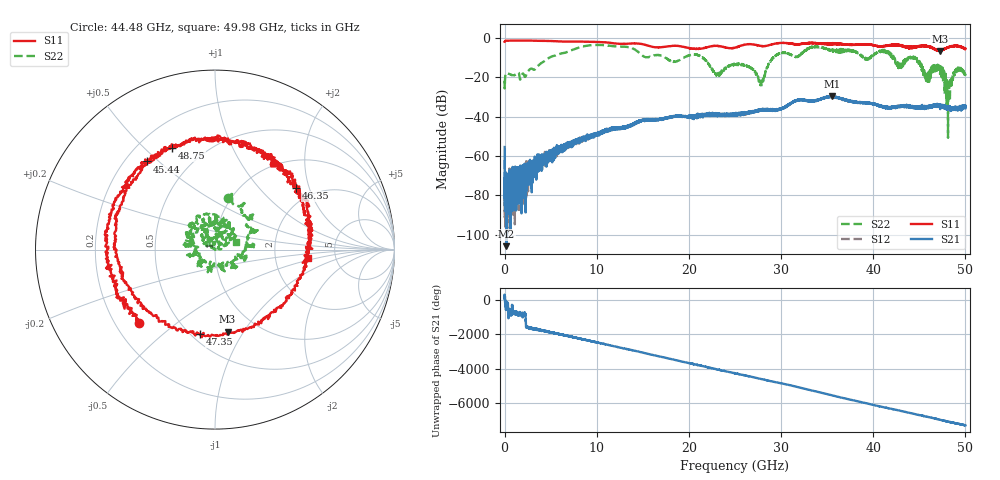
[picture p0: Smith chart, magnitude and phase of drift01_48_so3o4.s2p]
!Created with skrf (http://scikit-rf.org).
# Hz S RI R 50.0
!freq ReS11 ImS11 ReS21 ImS21 ReS12 ImS12 ReS22 ImS22
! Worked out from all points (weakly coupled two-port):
!   10001 points, 300 kHz to 50 GHz, reference 50 ohm
!   highest |S21| = -29.60 dB at 35.55 GHz (marker M1); lowest = -105.7 dB at 200.3 MHz (marker M2)
!   lowest |S11| = -6.7 dB at 47.21 GHz (marker M3), VSWR 2.72, Z = 36.6 - j42.5 ohm
!   |S11| at or under -10 dB: nowhere
!   |S22| runs from -50.8 to -3.6 dB; largest |S21 - S12| = 0.0036
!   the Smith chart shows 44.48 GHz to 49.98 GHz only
!   S11 on the Smith chart (normalised r, x): 44.48 GHz: 0.30, -0.37; 45.44 GHz: 0.29, +0.46; 46.35 GHz: 1.61, +1.63; 47.35 GHz: 0.55, -0.67; 48.75 GHz: 0.33, +0.61; 49.98 GHz: 3.11, -0.39
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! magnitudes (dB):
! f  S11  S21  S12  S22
! 300 kHz  -2.1  -55.4  -62.0  -21.8
! 200.3 MHz  -1.4  -105.7  -72.9  -18.0
! 8.335 GHz  -1.9  -51.8  -51.8  -4.6
! 16.67 GHz  -4.9  -41.6  -41.5  -8.7
! 20.96 GHz  -5.6  -39.7  -39.2  -8.7
! 23.07 GHz  -4.1  -39.5  -38.8  -18.3
! 25 GHz  -5.0  -38.7  -38.9  -13.8
! 27.83 GHz  -4.2  -36.5  -36.6  -22.3
! 29.47 GHz  -2.9  -36.7  -36.7  -8.8
! 33.34 GHz  -2.6  -32.0  -32.1  -4.8
! 35.55 GHz  -3.0  -29.6  -29.9  -6.0
! 41.67 GHz  -3.9  -35.5  -35.3  -7.5
! 42.83 GHz  -3.7  -34.6  -34.9  -13.3
! 44.48 GHz  -4.6  -35.0  -35.4  -10.5
! 45.44 GHz  -4.1  -35.8  -35.2  -18.0
! 46.35 GHz  -4.9  -34.5  -34.8  -16.8
! 47.21 GHz  -6.7  -34.1  -35.0  -16.9
! 47.35 GHz  -6.4  -35.3  -34.4  -15.2
! 48.13 GHz  -4.8  -35.6  -35.7  -33.0
! 48.75 GHz  -4.2  -35.8  -36.3  -17.5
! 49.98 GHz  -5.7  -34.8  -34.8  -18.2
! 50 GHz  -5.6  -35.7  -35.0  -18.6
